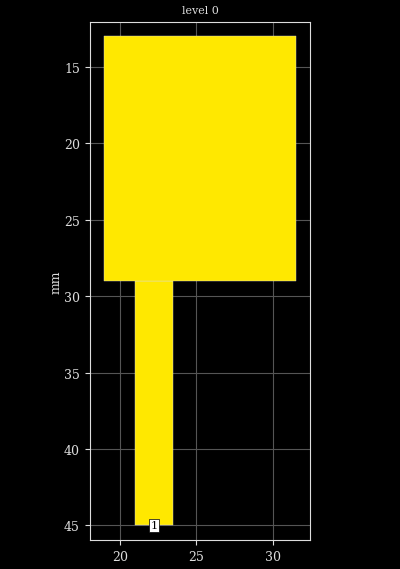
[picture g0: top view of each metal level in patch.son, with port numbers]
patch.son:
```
FTYP SONPROJ 3 ! Sonnet Project File
VER 11.54
HEADER
LIC Sonn.1.12345
DAT 04/23/2014 02:48:36
BUILT_BY_CREATED xgeom 11.54 04/23/2014 02:23:49
BUILT_BY_SAVED xgeom 11.54
MDATE 04/23/2014 02:45:51
HDATE 04/23/2014 02:45:51
END HEADER
DIM
FREQ GHZ
IND NH
LNG MM
ANG DEG
CON /OH
CAP PF
RES OH
END DIM
FREQ
ABS 4.0 12.0 
END FREQ
CONTROL
ABS
OPTIONS  -d 
SPEED 1
CACHE_ABS 1
TARG_ABS 300
Q_ACC N
END CONTROL
GEO
TMET "Free Space" 0 FREESPACE 376.7303136 0 0 0
BMET "Lossless" 0 SUP 0 0 0 0
BOX 1 50 50 200 200 20 0
      10 1 1 0 0 0 0 "Air"
      0.794 2.2 1 0 0 0 0 "Dielectric"
POR1 AGND
POLY 8 1
2
1 50 0 0 0 22.2499982 45.0000002 NONE 
NUM 2
0 5 -1 N 8 1 1 100 100 0 0 0 Y
20.9999982 29.0000002
23.4999982 29.0000002
23.4999982 45.0000002
20.9999982 45.0000002
20.9999982 29.0000002
END
0 5 -1 N 11 1 1 100 100 0 0 0 Y
19.0000004 12.99999969
31.5000004 12.99999969
31.5000004 28.99999969
19.0000004 28.99999969
19.0000004 12.99999969
END
END GEO
OPT
MAX 100
VARS
END OPT
VARSWP
END VARSWP
QSG
IMPORT NO
EXTRA_METAL NO
UNITS YES
ALIGN NO
REF NO
VIEW_RES NO
METALS NO
USED YES
END QSG
3DOPTIONS
GLOBAL 10
ALL 2 1
END 3DOPTIONS
```
